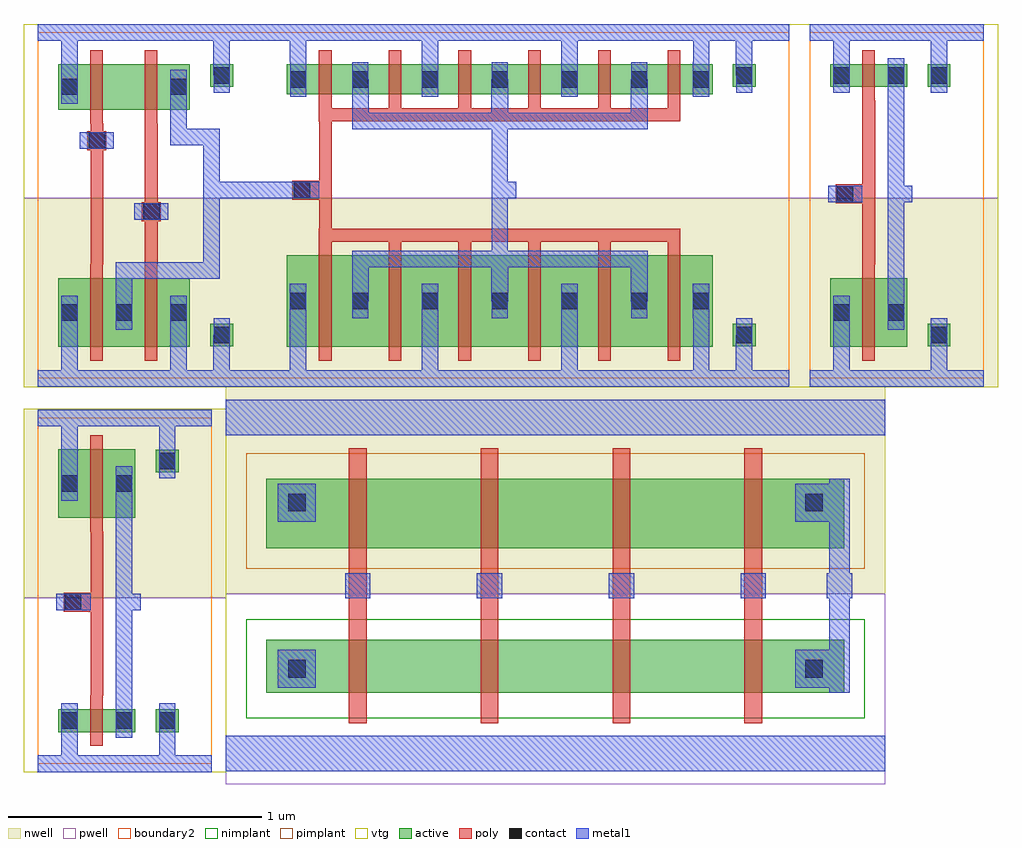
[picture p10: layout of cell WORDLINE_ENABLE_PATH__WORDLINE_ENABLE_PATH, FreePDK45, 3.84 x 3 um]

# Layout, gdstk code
import gdstk
lib = gdstk.Library(unit=1e-6, precision=1e-09)
def R(c, l, rs):  # rectangles x0, y0, x1, y1
    for r in rs: c.add(gdstk.rectangle(r[:2], r[2:], *l))
def A(c, l, x, y, w, h, nx, ny, dx, dy):  # array of equal rectangles
    R(c, l, [(x+i*dx, y+j*dy, x+i*dx+w, y+j*dy+h) for i in range(nx) for j in range(ny)])
active = (1, 0)
pwell = (2, 0)
nwell = (3, 0)
nimplant = (4, 0)
pimplant = (5, 0)
vtg = (6, 0)
poly = (9, 0)
contact = (10, 0)
metal1 = (11, 0)
boundary2 = (239, 0)

wordline_enable_path__sr = lib.new_cell('WORDLINE_ENABLE_PATH__sram_1rw_32x16_freepdk45_contact_11')
R(wordline_enable_path__sr, active, [(0,0.022,0.09,0.112)])
R(wordline_enable_path__sr, nwell, [(-0.055,-0.033,0.145,0.168)])
R(wordline_enable_path__sr, pimplant, [(0,0.022,0.09,0.112)])
R(wordline_enable_path__sr, contact, [(0.013,0.035,0.077,0.1)])
R(wordline_enable_path__sr, metal1, [(0.013,0,0.077,0.135)])
R(wordline_enable_path__sr, boundary2, [(-0.055,-0.033,0.145,0.168)])

c_wordline_enable_path__sr = lib.new_cell('WORDLINE_ENABLE_PATH__sram_1rw_32x16_freepdk45_pmos_m1_w0_270_sm1_dm1_da_p')
R(c_wordline_enable_path__sr, active, [(0,0,0.305,0.27)])
R(c_wordline_enable_path__sr, nwell, [(-0.08,-0.08,0.385,0.35)])
R(c_wordline_enable_path__sr, pimplant, [(0,0,0.305,0.27)])
R(c_wordline_enable_path__sr, vtg, [(-0.08,-0.08,0.385,0.35)])
R(c_wordline_enable_path__sr, poly, [(0.127,-0.055,0.177,0.325), (0.127,-0.055,0.177,0.325)])
R(c_wordline_enable_path__sr, metal1, [(0.013,0.068,0.077,0.203), (0.227,0.068,0.292,0.203)])
R(c_wordline_enable_path__sr, boundary2, [(-0.08,-0.08,0.385,0.35)])
c_wordline_enable_path__sr.add(gdstk.Reference(wordline_enable_path__sr, (0,0.068)))
c_wordline_enable_path__sr.add(gdstk.Reference(wordline_enable_path__sr, (0.215,0.068)))
c_wordline_enable_path__sr.add(gdstk.Label('G', (0.152,0.135), layer=9, texttype=0))
c_wordline_enable_path__sr.add(gdstk.Label('S', (0.045,0.135), layer=11, texttype=0))
c_wordline_enable_path__sr.add(gdstk.Label('D', (0.26,0.135), layer=11, texttype=0))

c_wordline_enable_path__sr_ = lib.new_cell('WORDLINE_ENABLE_PATH__sram_1rw_32x16_freepdk45_contact_10')
R(c_wordline_enable_path__sr_, active, [(0,0.022,0.09,0.112)])
R(c_wordline_enable_path__sr_, pwell, [(-0.055,-0.033,0.145,0.168)])
R(c_wordline_enable_path__sr_, nimplant, [(0,0.022,0.09,0.112)])
R(c_wordline_enable_path__sr_, contact, [(0.013,0.035,0.077,0.1)])
R(c_wordline_enable_path__sr_, metal1, [(0.013,0,0.077,0.135)])
R(c_wordline_enable_path__sr_, boundary2, [(-0.055,-0.033,0.145,0.168)])

c_wordline_enable_path__sr__ = lib.new_cell('WORDLINE_ENABLE_PATH__sram_1rw_32x16_freepdk45_nmos_m1_w0_090_sm1_dm1_da_p')
R(c_wordline_enable_path__sr__, active, [(0,0,0.305,0.09)])
R(c_wordline_enable_path__sr__, pwell, [(-0.08,-0.08,0.385,0.17)])
R(c_wordline_enable_path__sr__, nimplant, [(0,0,0.305,0.09)])
R(c_wordline_enable_path__sr__, vtg, [(-0.08,-0.08,0.385,0.17)])
R(c_wordline_enable_path__sr__, poly, [(0.127,-0.055,0.177,0.145), (0.127,-0.055,0.177,0.145)])
R(c_wordline_enable_path__sr__, metal1, [(0.013,-0.022,0.077,0.112), (0.227,-0.022,0.292,0.112)])
R(c_wordline_enable_path__sr__, boundary2, [(-0.08,-0.08,0.385,0.17)])
c_wordline_enable_path__sr__.add(gdstk.Reference(c_wordline_enable_path__sr_, (0,-0.022)))
c_wordline_enable_path__sr__.add(gdstk.Reference(c_wordline_enable_path__sr_, (0.215,-0.022)))
c_wordline_enable_path__sr__.add(gdstk.Label('G', (0.152,0.045), layer=9, texttype=0))
c_wordline_enable_path__sr__.add(gdstk.Label('S', (0.045,0.045), layer=11, texttype=0))
c_wordline_enable_path__sr__.add(gdstk.Label('D', (0.26,0.045), layer=11, texttype=0))

c_wordline_enable_path__sr___ = lib.new_cell('WORDLINE_ENABLE_PATH__sram_1rw_32x16_freepdk45_contact_12')
R(c_wordline_enable_path__sr___, active, [(0,0.022,0.09,0.112)])
R(c_wordline_enable_path__sr___, nwell, [(-0.055,-0.033,0.145,0.168)])
R(c_wordline_enable_path__sr___, nimplant, [(0,0.022,0.09,0.112)])
R(c_wordline_enable_path__sr___, contact, [(0.013,0.035,0.077,0.1)])
R(c_wordline_enable_path__sr___, metal1, [(0.013,0,0.077,0.135)])
R(c_wordline_enable_path__sr___, boundary2, [(-0.055,-0.033,0.145,0.168)])

c_wordline_enable_path__sr____ = lib.new_cell('WORDLINE_ENABLE_PATH__sram_1rw_32x16_freepdk45_contact_13')
R(c_wordline_enable_path__sr____, active, [(0,0.022,0.09,0.112)])
R(c_wordline_enable_path__sr____, pwell, [(-0.055,-0.033,0.145,0.168)])
R(c_wordline_enable_path__sr____, pimplant, [(0,0.022,0.09,0.112)])
R(c_wordline_enable_path__sr____, contact, [(0.013,0.035,0.077,0.1)])
R(c_wordline_enable_path__sr____, metal1, [(0.013,0,0.077,0.135)])
R(c_wordline_enable_path__sr____, boundary2, [(-0.055,-0.033,0.145,0.168)])

c_wordline_enable_path__sr_____ = lib.new_cell('WORDLINE_ENABLE_PATH__sram_1rw_32x16_freepdk45_contact_14')
R(c_wordline_enable_path__sr_____, poly, [(0.03,0,0.105,0.075)])
R(c_wordline_enable_path__sr_____, contact, [(0.035,0.005,0.1,0.07)])
R(c_wordline_enable_path__sr_____, metal1, [(0,0.005,0.135,0.07)])
R(c_wordline_enable_path__sr_____, boundary2, [(0,0,0.135,0.075)])

wordline_enable_path__ge = lib.new_cell('WORDLINE_ENABLE_PATH__gen_inv')
R(wordline_enable_path__ge, pwell, [(-0.055,-0.033,0.743,0.655)])
R(wordline_enable_path__ge, nwell, [(-0.055,0.655,0.743,1.4)])
R(wordline_enable_path__ge, vtg, [(-0.055,-0.033,0.743,0.655), (-0.055,0.655,0.743,1.4)])
R(wordline_enable_path__ge, poly, [(0.208,0.27,0.258,0.915), (0.14,0.6,0.208,0.675)])
R(wordline_enable_path__ge, metal1, [(0,-0.033,0.687,0.033), (0.092,-0.033,0.157,0.103), (0.478,0,0.542,0.17), (0.307,0.103,0.372,1.173), (0.072,0.605,0.208,0.67), (0.34,0.605,0.405,0.67), (0.092,1.038,0.157,1.397), (0.478,1.195,0.542,1.365), (0,1.332,0.687,1.397)])
R(wordline_enable_path__ge, boundary2, [(0,0,0.687,1.365), (0,0,0.687,1.365)])
wordline_enable_path__ge.add(gdstk.Reference(c_wordline_enable_path__sr, (0.08,0.97)))
wordline_enable_path__ge.add(gdstk.Reference(c_wordline_enable_path__sr__, (0.08,0.125)))
wordline_enable_path__ge.add(gdstk.Reference(c_wordline_enable_path__sr___, (0.465,1.127)))
wordline_enable_path__ge.add(gdstk.Reference(c_wordline_enable_path__sr____, (0.465,0.103)))
wordline_enable_path__ge.add(gdstk.Reference(c_wordline_enable_path__sr_____, (0.072,0.6)))
wordline_enable_path__ge.add(gdstk.Label('A', (0.14,0.638), layer=11, texttype=0))
wordline_enable_path__ge.add(gdstk.Label('Z', (0.372,0.638), layer=11, texttype=0))
wordline_enable_path__ge.add(gdstk.Label('gnd', (0.345,0), layer=11, texttype=0))
wordline_enable_path__ge.add(gdstk.Label('vdd', (0.345,1.365), layer=11, texttype=0))

c_wordline_enable_path__ge = lib.new_cell('WORDLINE_ENABLE_PATH__gen_nand4')
R(c_wordline_enable_path__ge, active, [(0.16,0.36,2.44,0.57), (0.16,0.93,2.44,1.205)])
R(c_wordline_enable_path__ge, pwell, [(0,0,2.6,0.75)])
R(c_wordline_enable_path__ge, nwell, [(0,0.75,2.6,1.565)])
R(c_wordline_enable_path__ge, nimplant, [(0.08,0.26,2.52,0.65)])
R(c_wordline_enable_path__ge, pimplant, [(0.08,0.85,2.52,1.305)])
A(c_wordline_enable_path__ge, poly, 0.485, 0.24, 0.07, 1.085, 4, 1, 0.52, 0)
R(c_wordline_enable_path__ge, contact, [(0.245,0.42,0.315,0.49), (2.285,0.42,2.355,0.49), (0.245,1.075,0.315,1.145), (2.285,1.075,2.355,1.145)])
A(c_wordline_enable_path__ge, metal1, 0.47, 0.733, 0.1, 0.099, 4, 1, 0.52, 0)
R(c_wordline_enable_path__ge, metal1, [(0,0.05,2.6,0.19), (1.25,0.07,1.35,0.17), (2.38,0.36,2.46,1.205), (0.205,0.38,0.355,0.53), (2.245,0.38,2.395,0.53), (2.37,0.733,2.47,0.832), (0.205,1.035,0.355,1.185), (2.245,1.035,2.395,1.185), (0,1.375,2.6,1.515), (1.25,1.395,1.35,1.495)])

c_wordline_enable_path__sr______ = lib.new_cell('WORDLINE_ENABLE_PATH__sram_1rw_32x16_freepdk45_contact_11__gen_wl_driver')
R(c_wordline_enable_path__sr______, active, [(0,0.022,0.09,0.112)])
R(c_wordline_enable_path__sr______, nwell, [(-0.055,-0.033,0.145,0.168)])
R(c_wordline_enable_path__sr______, pimplant, [(0,0.022,0.09,0.112)])
R(c_wordline_enable_path__sr______, contact, [(0.013,0.035,0.077,0.1)])
R(c_wordline_enable_path__sr______, metal1, [(0.013,0,0.077,0.135)])
R(c_wordline_enable_path__sr______, boundary2, [(-0.055,-0.033,0.145,0.168)])

c_wordline_enable_path__sr_______ = lib.new_cell('WORDLINE_ENABLE_PATH__sram_1rw_32x16_freepdk45_pmos_m1_w0_270_sm1_dm1')
R(c_wordline_enable_path__sr_______, active, [(0,0,0.305,0.27)])
R(c_wordline_enable_path__sr_______, nwell, [(-0.08,-0.08,0.385,0.35)])
R(c_wordline_enable_path__sr_______, pimplant, [(0,0,0.305,0.27)])
R(c_wordline_enable_path__sr_______, vtg, [(-0.08,-0.08,0.385,0.35)])
R(c_wordline_enable_path__sr_______, poly, [(0.127,-0.055,0.177,0.325), (0.127,-0.055,0.177,0.325)])
R(c_wordline_enable_path__sr_______, metal1, [(0.013,0.068,0.077,0.203), (0.227,0.068,0.292,0.203)])
R(c_wordline_enable_path__sr_______, boundary2, [(-0.08,-0.08,0.385,0.35)])
c_wordline_enable_path__sr_______.add(gdstk.Reference(c_wordline_enable_path__sr______, (0,0.068)))
c_wordline_enable_path__sr_______.add(gdstk.Reference(c_wordline_enable_path__sr______, (0.215,0.068)))
c_wordline_enable_path__sr_______.add(gdstk.Label('G', (0.152,0.135), layer=9, texttype=0))
c_wordline_enable_path__sr_______.add(gdstk.Label('S', (0.045,0.135), layer=11, texttype=0))
c_wordline_enable_path__sr_______.add(gdstk.Label('D', (0.26,0.135), layer=11, texttype=0))

c_wordline_enable_path__sr________ = lib.new_cell('WORDLINE_ENABLE_PATH__sram_1rw_32x16_freepdk45_contact_10__gen_wl_driver')
R(c_wordline_enable_path__sr________, active, [(0,0.022,0.09,0.112)])
R(c_wordline_enable_path__sr________, pwell, [(-0.055,-0.033,0.145,0.168)])
R(c_wordline_enable_path__sr________, nimplant, [(0,0.022,0.09,0.112)])
R(c_wordline_enable_path__sr________, contact, [(0.013,0.035,0.077,0.1)])
R(c_wordline_enable_path__sr________, metal1, [(0.013,0,0.077,0.135)])
R(c_wordline_enable_path__sr________, boundary2, [(-0.055,-0.033,0.145,0.168)])

c_wordline_enable_path__sr_________ = lib.new_cell('WORDLINE_ENABLE_PATH__sram_1rw_32x16_freepdk45_nmos_m1_w0_180_sm1_dactive')
R(c_wordline_enable_path__sr_________, active, [(0,0,0.305,0.18), (0.215,0.045,0.305,0.135)])
R(c_wordline_enable_path__sr_________, pwell, [(-0.08,-0.08,0.385,0.26)])
R(c_wordline_enable_path__sr_________, nimplant, [(0,0,0.305,0.18)])
R(c_wordline_enable_path__sr_________, vtg, [(-0.08,-0.08,0.385,0.26)])
R(c_wordline_enable_path__sr_________, poly, [(0.127,-0.055,0.177,0.235), (0.127,-0.055,0.177,0.235)])
R(c_wordline_enable_path__sr_________, metal1, [(0.013,0.022,0.077,0.157)])
R(c_wordline_enable_path__sr_________, boundary2, [(-0.08,-0.08,0.385,0.26)])
c_wordline_enable_path__sr_________.add(gdstk.Reference(c_wordline_enable_path__sr________, (0,0.022)))
c_wordline_enable_path__sr_________.add(gdstk.Label('G', (0.152,0.09), layer=9, texttype=0))
c_wordline_enable_path__sr_________.add(gdstk.Label('S', (0.045,0.09), layer=11, texttype=0))
c_wordline_enable_path__sr_________.add(gdstk.Label('D', (0.26,0.09), layer=1, texttype=0))

c_wordline_enable_path__sr__________ = lib.new_cell('WORDLINE_ENABLE_PATH__sram_1rw_32x16_freepdk45_nmos_m1_w0_180_sactive_dm1')
R(c_wordline_enable_path__sr__________, active, [(0,0,0.305,0.18), (0,0.045,0.09,0.135)])
R(c_wordline_enable_path__sr__________, pwell, [(-0.08,-0.08,0.385,0.26)])
R(c_wordline_enable_path__sr__________, nimplant, [(0,0,0.305,0.18)])
R(c_wordline_enable_path__sr__________, vtg, [(-0.08,-0.08,0.385,0.26)])
R(c_wordline_enable_path__sr__________, poly, [(0.127,-0.055,0.177,0.235), (0.127,-0.055,0.177,0.235)])
R(c_wordline_enable_path__sr__________, metal1, [(0.227,0.022,0.292,0.157)])
R(c_wordline_enable_path__sr__________, boundary2, [(-0.08,-0.08,0.385,0.26)])
c_wordline_enable_path__sr__________.add(gdstk.Reference(c_wordline_enable_path__sr________, (0.215,0.022)))
c_wordline_enable_path__sr__________.add(gdstk.Label('G', (0.152,0.09), layer=9, texttype=0))
c_wordline_enable_path__sr__________.add(gdstk.Label('S', (0.045,0.09), layer=1, texttype=0))
c_wordline_enable_path__sr__________.add(gdstk.Label('D', (0.26,0.09), layer=11, texttype=0))

c_wordline_enable_path__sr___________ = lib.new_cell('WORDLINE_ENABLE_PATH__sram_1rw_32x16_freepdk45_contact_12__gen_wl_driver')
R(c_wordline_enable_path__sr___________, active, [(0,0.022,0.09,0.112)])
R(c_wordline_enable_path__sr___________, nwell, [(-0.055,-0.033,0.145,0.168)])
R(c_wordline_enable_path__sr___________, nimplant, [(0,0.022,0.09,0.112)])
R(c_wordline_enable_path__sr___________, contact, [(0.013,0.035,0.077,0.1)])
R(c_wordline_enable_path__sr___________, metal1, [(0.013,0,0.077,0.135)])
R(c_wordline_enable_path__sr___________, boundary2, [(-0.055,-0.033,0.145,0.168)])

c_wordline_enable_path__sr____________ = lib.new_cell('WORDLINE_ENABLE_PATH__sram_1rw_32x16_freepdk45_contact_13__gen_wl_driver')
R(c_wordline_enable_path__sr____________, active, [(0,0.022,0.09,0.112)])
R(c_wordline_enable_path__sr____________, pwell, [(-0.055,-0.033,0.145,0.168)])
R(c_wordline_enable_path__sr____________, pimplant, [(0,0.022,0.09,0.112)])
R(c_wordline_enable_path__sr____________, contact, [(0.013,0.035,0.077,0.1)])
R(c_wordline_enable_path__sr____________, metal1, [(0.013,0,0.077,0.135)])
R(c_wordline_enable_path__sr____________, boundary2, [(-0.055,-0.033,0.145,0.168)])

c_wordline_enable_path__sr_____________ = lib.new_cell('WORDLINE_ENABLE_PATH__sram_1rw_32x16_freepdk45_contact_14__gen_wl_driver')
R(c_wordline_enable_path__sr_____________, poly, [(0.03,0,0.105,0.075)])
R(c_wordline_enable_path__sr_____________, contact, [(0.035,0.005,0.1,0.07)])
R(c_wordline_enable_path__sr_____________, metal1, [(0,0.005,0.135,0.07)])
R(c_wordline_enable_path__sr_____________, boundary2, [(0,0,0.135,0.075)])

c_wordline_enable_path__sr______________ = lib.new_cell('WORDLINE_ENABLE_PATH__sram_1rw_32x16_freepdk45_pnand2')
R(c_wordline_enable_path__sr______________, pwell, [(-0.055,-0.033,0.957,0.655)])
R(c_wordline_enable_path__sr______________, nwell, [(-0.055,0.655,0.957,1.4)])
R(c_wordline_enable_path__sr______________, vtg, [(-0.055,-0.033,0.957,0.655), (-0.055,0.655,0.957,1.4)])
R(c_wordline_enable_path__sr______________, poly, [(0.208,0.36,0.258,0.915), (0.422,0.36,0.473,0.915), (0.208,0.39,0.232,0.465), (0.422,0.67,0.447,0.745)])
R(c_wordline_enable_path__sr______________, metal1, [(0,-0.033,0.902,0.033), (0.092,-0.033,0.157,0.147), (0.692,0,0.758,0.17), (0.522,0.283,0.588,0.413), (0.522,0.38,0.588,0.445), (0.555,0.38,0.685,0.445), (0.652,0.38,0.718,0.445), (0.165,0.395,0.3,0.46), (0.652,0.413,0.718,0.94), (0.38,0.675,0.515,0.74), (0.307,0.907,0.372,0.972), (0.34,0.907,0.685,0.972), (0.652,0.907,0.718,0.972), (0.307,0.94,0.372,1.038), (0.092,1.038,0.157,1.397), (0.522,1.038,0.588,1.397), (0.692,1.195,0.758,1.365), (0,1.332,0.902,1.397)])
R(c_wordline_enable_path__sr______________, boundary2, [(0,0,0.902,1.365), (0,0,0.902,1.365)])
c_wordline_enable_path__sr______________.add(gdstk.Reference(c_wordline_enable_path__sr_______, (0.08,0.97)))
c_wordline_enable_path__sr______________.add(gdstk.Reference(c_wordline_enable_path__sr_______, (0.295,0.97)))
c_wordline_enable_path__sr______________.add(gdstk.Reference(c_wordline_enable_path__sr_________, (0.08,0.125)))
c_wordline_enable_path__sr______________.add(gdstk.Reference(c_wordline_enable_path__sr__________, (0.295,0.125)))
c_wordline_enable_path__sr______________.add(gdstk.Reference(c_wordline_enable_path__sr___________, (0.68,1.127)))
c_wordline_enable_path__sr______________.add(gdstk.Reference(c_wordline_enable_path__sr____________, (0.68,0.103)))
c_wordline_enable_path__sr______________.add(gdstk.Reference(c_wordline_enable_path__sr_____________, (0.165,0.39)))
c_wordline_enable_path__sr______________.add(gdstk.Reference(c_wordline_enable_path__sr_____________, (0.38,0.67)))
c_wordline_enable_path__sr______________.add(gdstk.Label('Z', (0.685,0.94), layer=11, texttype=0))
c_wordline_enable_path__sr______________.add(gdstk.Label('gnd', (0.45,0), layer=11, texttype=0))
c_wordline_enable_path__sr______________.add(gdstk.Label('vdd', (0.45,1.365), layer=11, texttype=0))
c_wordline_enable_path__sr______________.add(gdstk.Label('A', (0.232,0.427), layer=11, texttype=0))
c_wordline_enable_path__sr______________.add(gdstk.Label('B', (0.447,0.707), layer=11, texttype=0))

c_wordline_enable_path__sr_______________ = lib.new_cell('WORDLINE_ENABLE_PATH__sram_1rw_32x16_freepdk45_pmos_m6_w0_360_sm1_dm1_da_p')
R(c_wordline_enable_path__sr_______________, active, [(0,0,1.68,0.36)])
R(c_wordline_enable_path__sr_______________, nwell, [(-0.08,-0.08,1.76,0.44)])
R(c_wordline_enable_path__sr_______________, pimplant, [(0,0,1.68,0.36)])
R(c_wordline_enable_path__sr_______________, vtg, [(-0.08,-0.08,1.76,0.44)])
R(c_wordline_enable_path__sr_______________, poly, [(0.127,-0.105,1.552,-0.055), (0.127,-0.055,0.177,0.415), (0.403,-0.055,0.452,0.415), (0.677,-0.055,0.728,0.415), (0.952,-0.055,1.002,0.415), (1.228,-0.055,1.278,0.415), (1.502,-0.055,1.552,0.415)])
R(c_wordline_enable_path__sr_______________, metal1, [(0.258,-0.018,1.423,0.047), (0.258,0.015,0.323,0.18), (0.807,0.015,0.873,0.18), (1.357,0.015,1.423,0.18), (0.013,0.112,0.077,0.247), (0.532,0.112,0.598,0.247), (1.083,0.112,1.147,0.247), (1.602,0.112,1.667,0.247)])
R(c_wordline_enable_path__sr_______________, boundary2, [(-0.08,-0.105,1.76,0.44)])
c_wordline_enable_path__sr_______________.add(gdstk.Reference(c_wordline_enable_path__sr______, (0,0.112)))
c_wordline_enable_path__sr_______________.add(gdstk.Reference(c_wordline_enable_path__sr______, (0.245,0.112)))
c_wordline_enable_path__sr_______________.add(gdstk.Reference(c_wordline_enable_path__sr______, (0.52,0.112)))
c_wordline_enable_path__sr_______________.add(gdstk.Reference(c_wordline_enable_path__sr______, (0.795,0.112)))
c_wordline_enable_path__sr_______________.add(gdstk.Reference(c_wordline_enable_path__sr______, (1.07,0.112)))
c_wordline_enable_path__sr_______________.add(gdstk.Reference(c_wordline_enable_path__sr______, (1.345,0.112)))
c_wordline_enable_path__sr_______________.add(gdstk.Reference(c_wordline_enable_path__sr______, (1.59,0.112)))
c_wordline_enable_path__sr_______________.add(gdstk.Label('G', (0.84,-0.08), layer=9, texttype=0))
c_wordline_enable_path__sr_______________.add(gdstk.Label('S', (1.635,0.18), layer=11, texttype=0))
c_wordline_enable_path__sr_______________.add(gdstk.Label('S', (1.115,0.18), layer=11, texttype=0))
c_wordline_enable_path__sr_______________.add(gdstk.Label('S', (0.045,0.18), layer=11, texttype=0))
c_wordline_enable_path__sr_______________.add(gdstk.Label('S', (0.565,0.18), layer=11, texttype=0))
c_wordline_enable_path__sr_______________.add(gdstk.Label('D', (0.84,0.015), layer=11, texttype=0))

c_wordline_enable_path__sr________________ = lib.new_cell('WORDLINE_ENABLE_PATH__sram_1rw_32x16_freepdk45_nmos_m6_w0_120_sm1_dm1_da_p')
R(c_wordline_enable_path__sr________________, active, [(0,0,1.68,0.12)])
R(c_wordline_enable_path__sr________________, pwell, [(-0.08,-0.08,1.76,0.2)])
R(c_wordline_enable_path__sr________________, nimplant, [(0,0,1.68,0.12)])
R(c_wordline_enable_path__sr________________, vtg, [(-0.08,-0.08,1.76,0.2)])
R(c_wordline_enable_path__sr________________, poly, [(0.127,-0.055,0.177,0.175), (0.403,-0.055,0.452,0.175), (0.677,-0.055,0.728,0.175), (0.952,-0.055,1.002,0.175), (1.228,-0.055,1.278,0.175), (1.502,-0.055,1.552,0.175), (0.127,0.175,1.552,0.225)])
R(c_wordline_enable_path__sr________________, metal1, [(0.013,-0.007,0.077,0.127), (0.532,-0.007,0.598,0.127), (1.083,-0.007,1.147,0.127), (1.602,-0.007,1.667,0.127), (0.258,0.06,0.323,0.225), (0.807,0.06,0.873,0.225), (1.357,0.06,1.423,0.225), (0.258,0.192,1.423,0.258)])
R(c_wordline_enable_path__sr________________, boundary2, [(-0.08,-0.08,1.76,0.258)])
c_wordline_enable_path__sr________________.add(gdstk.Reference(c_wordline_enable_path__sr________, (0,-0.007)))
c_wordline_enable_path__sr________________.add(gdstk.Reference(c_wordline_enable_path__sr________, (0.245,-0.007)))
c_wordline_enable_path__sr________________.add(gdstk.Reference(c_wordline_enable_path__sr________, (0.52,-0.007)))
c_wordline_enable_path__sr________________.add(gdstk.Reference(c_wordline_enable_path__sr________, (0.795,-0.007)))
c_wordline_enable_path__sr________________.add(gdstk.Reference(c_wordline_enable_path__sr________, (1.07,-0.007)))
c_wordline_enable_path__sr________________.add(gdstk.Reference(c_wordline_enable_path__sr________, (1.345,-0.007)))
c_wordline_enable_path__sr________________.add(gdstk.Reference(c_wordline_enable_path__sr________, (1.59,-0.007)))
c_wordline_enable_path__sr________________.add(gdstk.Label('G', (0.84,0.2), layer=9, texttype=0))
c_wordline_enable_path__sr________________.add(gdstk.Label('S', (1.115,0.06), layer=11, texttype=0))
c_wordline_enable_path__sr________________.add(gdstk.Label('S', (0.565,0.06), layer=11, texttype=0))
c_wordline_enable_path__sr________________.add(gdstk.Label('S', (0.045,0.06), layer=11, texttype=0))
c_wordline_enable_path__sr________________.add(gdstk.Label('S', (1.635,0.06), layer=11, texttype=0))
c_wordline_enable_path__sr________________.add(gdstk.Label('D', (0.84,0.225), layer=11, texttype=0))

c_wordline_enable_path__sr_________________ = lib.new_cell('WORDLINE_ENABLE_PATH__sram_1rw_32x16_freepdk45_pinv_0')
R(c_wordline_enable_path__sr_________________, pwell, [(-0.055,-0.033,2.118,0.655)])
R(c_wordline_enable_path__sr_________________, nwell, [(-0.055,0.655,2.118,1.4)])
R(c_wordline_enable_path__sr_________________, vtg, [(-0.055,-0.033,2.118,0.655), (-0.055,0.655,2.118,1.4)])
R(c_wordline_enable_path__sr_________________, poly, [(0.208,0.35,0.258,0.775), (0.14,0.585,0.208,0.66)])
R(c_wordline_enable_path__sr_________________, metal1, [(0,-0.033,2.062,0.033), (0.092,-0.033,0.157,0.118), (0.613,-0.033,0.677,0.118), (1.163,-0.033,1.228,0.118), (1.683,-0.033,1.747,0.118), (1.852,0,1.917,0.17), (0.888,0.317,0.952,0.927), (0.072,0.59,0.208,0.655), (0.92,0.59,0.985,0.655), (0.092,0.992,0.157,1.397), (0.613,0.992,0.677,1.397), (1.163,0.992,1.228,1.397), (1.683,0.992,1.747,1.397), (1.852,1.195,1.917,1.365), (0,1.332,2.062,1.397)])
R(c_wordline_enable_path__sr_________________, boundary2, [(0,0,2.062,1.365), (0,0,2.062,1.365)])
c_wordline_enable_path__sr_________________.add(gdstk.Reference(c_wordline_enable_path__sr_______________, (0.08,0.88)))
c_wordline_enable_path__sr_________________.add(gdstk.Reference(c_wordline_enable_path__sr________________, (0.08,0.125)))
c_wordline_enable_path__sr_________________.add(gdstk.Reference(c_wordline_enable_path__sr___________, (1.84,1.127)))
c_wordline_enable_path__sr_________________.add(gdstk.Reference(c_wordline_enable_path__sr____________, (1.84,0.103)))
c_wordline_enable_path__sr_________________.add(gdstk.Reference(c_wordline_enable_path__sr_____________, (0.072,0.585)))
c_wordline_enable_path__sr_________________.add(gdstk.Label('A', (0.14,0.623), layer=11, texttype=0))
c_wordline_enable_path__sr_________________.add(gdstk.Label('Z', (0.952,0.623), layer=11, texttype=0))
c_wordline_enable_path__sr_________________.add(gdstk.Label('gnd', (1.03,0), layer=11, texttype=0))
c_wordline_enable_path__sr_________________.add(gdstk.Label('vdd', (1.03,1.365), layer=11, texttype=0))

c_wordline_enable_path__ge_ = lib.new_cell('WORDLINE_ENABLE_PATH__gen_wl_driver')
R(c_wordline_enable_path__ge_, metal1, [(0,-0.033,2.965,0.033), (0.165,0.395,0.3,0.46), (0.652,0.59,0.718,0.655), (0.685,0.59,1.042,0.655), (1.822,0.59,1.887,0.655), (0.652,0.623,0.718,0.94), (0.38,0.675,0.515,0.74), (0,1.332,2.965,1.397)])
R(c_wordline_enable_path__ge_, boundary2, [(0,0,2.965,1.365)])
c_wordline_enable_path__ge_.add(gdstk.Reference(c_wordline_enable_path__sr______________, (0,0)))
c_wordline_enable_path__ge_.add(gdstk.Reference(c_wordline_enable_path__sr_________________, (0.902,0)))
c_wordline_enable_path__ge_.add(gdstk.Label('Z', (1.855,0.623), layer=11, texttype=0))
c_wordline_enable_path__ge_.add(gdstk.Label('A', (0.232,0.427), layer=11, texttype=0))
c_wordline_enable_path__ge_.add(gdstk.Label('B', (0.447,0.707), layer=11, texttype=0))
c_wordline_enable_path__ge_.add(gdstk.Label('gnd', (1.482,0), layer=11, texttype=0))
c_wordline_enable_path__ge_.add(gdstk.Label('vdd', (1.482,1.365), layer=11, texttype=0))

wordline_enable_path__wo = lib.new_cell('WORDLINE_ENABLE_PATH__WORDLINE_ENABLE_PATH')
wordline_enable_path__wo.add(gdstk.Reference(wordline_enable_path__ge, (0.08,0.08)))
wordline_enable_path__wo.add(gdstk.Reference(c_wordline_enable_path__ge, (0.822,0)))
wordline_enable_path__wo.add(gdstk.Reference(c_wordline_enable_path__ge_, (0.08,2.965), x_reflection=True))
wordline_enable_path__wo.add(gdstk.Reference(wordline_enable_path__ge, (3.125,2.965), x_reflection=True))

lib.write_gds('WORDLINE_ENABLE_PATH__WORDLINE_ENABLE_PATH.gds')
